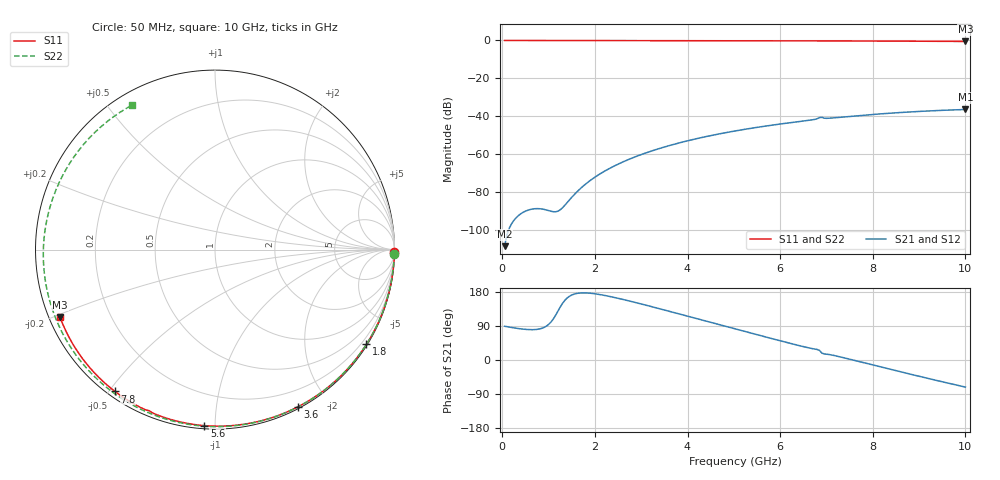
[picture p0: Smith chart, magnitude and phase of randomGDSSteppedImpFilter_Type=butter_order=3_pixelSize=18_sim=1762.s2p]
! freq	dB(S11)	phase(S11)	dB(S12)	phase(S12)
!  dB(S21)	phase(S21)	dB(S22)	phase(S22)
!S-par simulation data
#  GHz  S  DB  R 50
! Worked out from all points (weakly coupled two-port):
!   200 points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, 50 MHz to 10 GHz, reference 50 ohm
!   highest |S21| = -36.50 dB at 10 GHz (marker M1); lowest = -108.8 dB at 50 MHz (marker M2)
!   lowest |S11| = -0.5 dB at 10 GHz (marker M3), VSWR 33.39, Z = 1.56 - j10.4 ohm
!   |S11| at or under -10 dB: nowhere
!   |S22| runs from -0.6 to 0.0 dB; largest |S21 - S12| = 0
!   S11 on the Smith chart (normalised r, x): 50 MHz: open; 1.8 GHz: 0.03, -3.49; 3.6 GHz: 0.02, -1.65; 5.6 GHz: 0.02, -0.94; 7.8 GHz: 0.02, -0.52; 10 GHz: 0.03, -0.21
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0.05  -0.00 -0.9  -108.80 89.1  -108.80 89.1  -0.00 -1.3
0.8  -0.02 -14.4  -88.98 81.9  -88.98 81.9  -0.03 -20.8
1.6  -0.04 -28.5  -80.36 175.4  -80.36 175.4  -0.05 -41.2
1.75  -0.04 -31.1  -76.95 177.2  -76.95 177.2  -0.06 -45.0
1.8  -0.04 -32.0  -75.93 177.1  -75.93 177.1  -0.06 -46.2
2.1  -0.05 -37.2  -70.72 172.8  -70.72 172.8  -0.07 -53.6
2.45  -0.06 -43.2  -66.01 164.2  -66.01 164.2  -0.08 -62.1
2.9  -0.07 -50.8  -61.26 151.0  -61.26 151.0  -0.09 -72.9
3.4  -0.08 -59.1  -57.08 135.2  -57.08 135.2  -0.11 -84.5
3.6  -0.08 -62.3  -55.64 128.7  -55.64 128.7  -0.12 -89.1
4.3  -0.10 -73.5  -51.37 105.8  -51.37 105.8  -0.15 -104.9
5.05  -0.13 -85.2  -47.77 81.3  -47.77 81.3  -0.18 -121.3
5.6  -0.15 -93.5  -45.59 63.5  -45.59 63.5  -0.22 -133.2
6.15  -0.18 -101.6  -43.71 46.0  -43.71 46.0  -0.25 -145.2
6.7  -0.22 -109.7  -41.96 29.9  -41.96 29.9  -0.30 -157.2
6.9  -0.27 -112.3  -40.66 18.4  -40.66 18.4  -0.31 -161.6
7.05  -0.24 -114.5  -41.15 14.6  -41.15 14.6  -0.33 -165.0
7.8  -0.29 -125.2  -39.53 -6.9  -39.53 -6.9  -0.40 177.8
8.35  -0.34 -133.0  -38.51 -23.6  -38.51 -23.6  -0.46 164.6
9.15  -0.42 -144.3  -37.35 -47.4  -37.35 -47.4  -0.55 144.1
9.55  -0.47 -150.0  -36.90 -58.9  -36.90 -58.9  -0.59 133.1
10  -0.52 -156.5  -36.50 -71.5  -36.50 -71.5  -0.65 120.1
